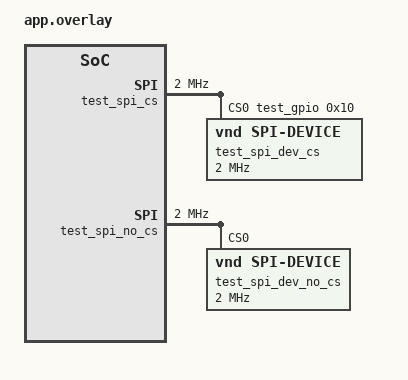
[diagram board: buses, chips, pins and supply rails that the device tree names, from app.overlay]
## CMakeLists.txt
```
# SPDX-License-Identifier: Apache-2.0

cmake_minimum_required(VERSION 3.28.0)

find_package(Zephyr REQUIRED HINTS $ENV{ZEPHYR_BASE})
project(spi_dt_spec)

FILE(GLOB app_sources src/*.c)
target_sources(app PRIVATE ${app_sources})
```

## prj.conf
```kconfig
CONFIG_ZTEST=y
CONFIG_ZTEST_NEW_API=y
CONFIG_SPI=y
CONFIG_GPIO=y
```

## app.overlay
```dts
/*
 * Copyright (c) 2020 Nordic Semiconductor ASA
 * Copyright (c) 2022 Intel Corporation
 *
 * SPDX-License-Identifier: Apache-2.0
 *
 */

/ {
	test {
		#address-cells = <0x1>;
		#size-cells = <0x1>;

		test_gpio: gpio@deadbeef {
			compatible = "vnd,gpio";
			reg = <0xdeadbeef 0x1000>;
			gpio-controller;
			#gpio-cells = <0x2>;
			status = "okay";
		};

		test_spi_cs: spi@33334444 {
			compatible = "vnd,spi";
			reg = <0x33334444 0x1000>;
			#address-cells = <1>;
			#size-cells = <0>;
			clock-frequency = <2000000>;

			cs-gpios = <&test_gpio 0x10 0x20>;
			status = "okay";

			test_spi_dev_cs: test-spi-dev@0 {
				compatible = "vnd,spi-device";
				reg = <0>;
				spi-max-frequency = <2000000>;
			};
		};

		test_spi_no_cs: spi@55556666 {
			compatible = "vnd,spi";
			reg = <0x55556666 0x1000>;
			#address-cells = <1>;
			#size-cells = <0>;
			clock-frequency = <2000000>;
			status = "okay";

			test_spi_dev_no_cs: test-spi-dev@0 {
				compatible = "vnd,spi-device";
				reg = <0>;
				spi-max-frequency = <2000000>;
			};
		};
	};
};
```

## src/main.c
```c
/*
 * Copyright (c) 2022 Intel Corporation
 *
 * SPDX-License-Identifier: Apache-2.0
 */

#include <zephyr/ztest.h>
#include <zephyr/devicetree.h>
#include <zephyr/device.h>
#include <zephyr/drivers/spi.h>
#include <zephyr/logging/log.h>

LOG_MODULE_REGISTER(test, CONFIG_LOG_DEFAULT_LEVEL);

ZTEST(spi_dt_spec, test_dt_spec)
{
	const struct spi_dt_spec spi_cs =
		SPI_DT_SPEC_GET(DT_NODELABEL(test_spi_dev_cs), 0);

	LOG_DBG("spi_cs.bus = %p", spi_cs.bus);
	LOG_DBG("spi_cs.config.cs.gpio.port = %p", spi_cs.config.cs.gpio.port);
	LOG_DBG("spi_cs.config.cs.gpio.pin = %u", spi_cs.config.cs.gpio.pin);

	zassert_equal(spi_cs.bus, DEVICE_DT_GET(DT_NODELABEL(test_spi_cs)), "");
	zassert_true(spi_cs_is_gpio_dt(&spi_cs), "");
	zassert_equal(spi_cs.config.cs.gpio.port, DEVICE_DT_GET(DT_NODELABEL(test_gpio)), "");
	zassert_equal(spi_cs.config.cs.gpio.pin, 0x10, "");

	const struct spi_dt_spec spi_no_cs =
		SPI_DT_SPEC_GET(DT_NODELABEL(test_spi_dev_no_cs), 0);

	LOG_DBG("spi_no_cs.bus = %p", spi_no_cs.bus);
	LOG_DBG("spi_no_cs.config.cs.gpio.port = %p", spi_no_cs.config.cs.gpio.port);

	zassert_equal(spi_no_cs.bus, DEVICE_DT_GET(DT_NODELABEL(test_spi_no_cs)), "");
	zassert_false(spi_cs_is_gpio_dt(&spi_no_cs), "");
}

ZTEST_SUITE(spi_dt_spec, NULL, NULL, NULL, NULL, NULL);
```
